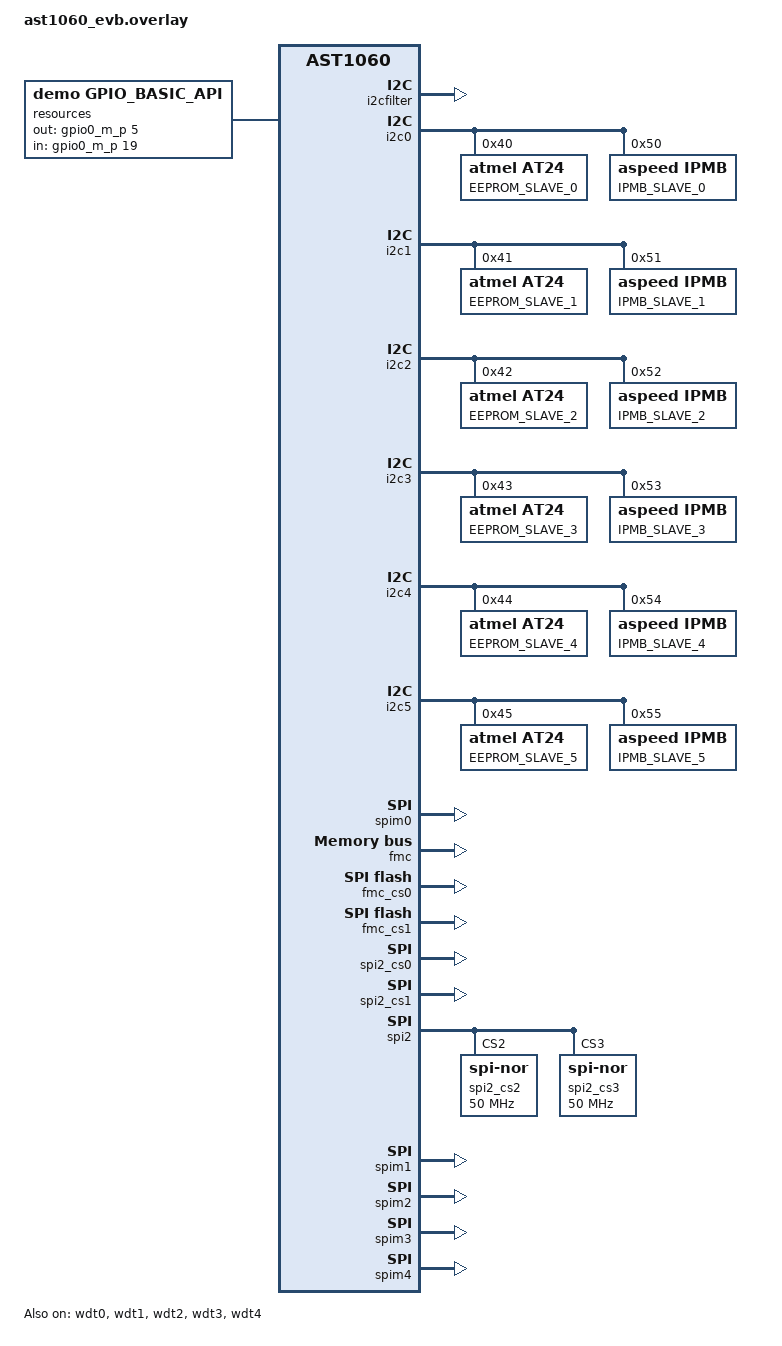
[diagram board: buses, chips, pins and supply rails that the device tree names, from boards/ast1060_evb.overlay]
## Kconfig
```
# Copyright (c) 2021 ASPEED Technology Inc. <chin-ting_kuo@aspeedtech.com>
# SPDX-License-Identifier: Apache-2.0

config WDT_DEMO_ASPEED
	default n
	bool "ASPEED WDT demo"
	help
	  Enable ASPEED WDT demo behaviors.

source "Kconfig.zephyr"
```

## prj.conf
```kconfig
CONFIG_GPIO=y
CONFIG_SPI=y
CONFIG_I2C=y
CONFIG_THREAD_RUNTIME_STATS=y
CONFIG_GPIO_SHELL=y
CONFIG_I2C_SLAVE=y
CONFIG_I2C_EEPROM_SLAVE=y
CONFIG_FLASH=y
CONFIG_SPI_NOR_MULTI_DEV=y
CONFIG_FLASH_SHELL=y
CONFIG_HEAP_MEM_POOL_SIZE=16384
CONFIG_MINIMAL_LIBC_MALLOC_ARENA_SIZE=147456
CONFIG_REBOOT=y
CONFIG_POSIX_CLOCK=y
CONFIG_STACK_SENTINEL=y
CONFIG_LOG=y
CONFIG_LOG_BACKEND_UART=y
CONFIG_SHELL=y
CONFIG_SHELL_BACKEND_SERIAL_INIT_PRIORITY=99
CONFIG_PFR_FLOW_CTRL_AST1060=y
```

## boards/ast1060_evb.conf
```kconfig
CONFIG_GPIO_ASPEED_SGPIOM=y
CONFIG_GPIO_ASPEED=y
CONFIG_SPI_ASPEED=y
CONFIG_SPI_MONITOR_ASPEED=y
CONFIG_SPI_MONITOR_SHELL_ASPEED=y
CONFIG_SPI_NOR_ADDR_MODE_FALLBACK_DISABLED=y
CONFIG_PFR_SHELL_ASPEED=y
CONFIG_I2C_ASPEED=y
CONFIG_I2C_PFR=y
CONFIG_I2C_PFR_INIT_PRIORITY=60
CONFIG_I2C_PFR_FILTER=y
CONFIG_SHELL_ARGC_MAX=70
CONFIG_WATCHDOG=y
CONFIG_WDT_ASPEED=y
CONFIG_OTP_ASPEED=y
```

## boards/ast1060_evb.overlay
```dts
/ {
	resources {
		compatible = "demo,gpio_basic_api";
		out-gpios = <&gpio0_m_p 5 0>;
		in-gpios = <&gpio0_m_p 19 0>;
	};
};

&i2cfilter {
	pinctrl-0 = <&pinctrl_smbflt_default>;
	status = "okay";
};

&i2c0 {
	status = "okay";
	pinctrl-0 = <&pinctrl_i2c0_default>;

	eeprom0: eeprom0@40 {
		compatible = "atmel,at24";
		reg = <0x40>;
		label = "EEPROM_SLAVE_0";
		size = <256>;
		pagesize = <16>;
		address-width = <8>;
		timeout = <5>;
#ifdef CONFIG_I2C_EEPROM_SLAVE
		status = "okay";
#endif
	};

	ipmb0: ipmb0@50 {
		compatible = "aspeed,ipmb";
		reg = <0x50>;
		label = "IPMB_SLAVE_0";
		size = <5>;
#ifdef CONFIG_I2C_IPMB_SLAVE
		status = "okay";
#endif
	};

};

&i2c1 {
	pinctrl-0 = <&pinctrl_i2c1_default>;
	status = "okay";

	eeprom1: eeprom1@41 {
		compatible = "atmel,at24";
		reg = <0x41>;
		label = "EEPROM_SLAVE_1";
		size = <256>;
		pagesize = <16>;
		address-width = <8>;
		timeout = <5>;
#ifdef CONFIG_I2C_EEPROM_SLAVE
		status = "okay";
#endif
	};

	ipmb1: ipmb1@51 {
		compatible = "aspeed,ipmb";
		reg = <0x51>;
		label = "IPMB_SLAVE_1";
		size = <5>;
#ifdef CONFIG_I2C_IPMB_SLAVE
		status = "okay";
#endif
	};

};

&i2c2 {
	pinctrl-0 = <&pinctrl_i2c2_default>;
	status = "okay";

	eeprom2: eeprom2@42 {
		compatible = "atmel,at24";
		reg = <0x42>;
		label = "EEPROM_SLAVE_2";
		size = <256>;
		pagesize = <16>;
		address-width = <8>;
		timeout = <5>;
#ifdef CONFIG_I2C_EEPROM_SLAVE
		status = "okay";
#endif
	};

	ipmb2: ipmb2@52 {
		compatible = "aspeed,ipmb";
		reg = <0x52>;
		label = "IPMB_SLAVE_2";
		size = <5>;
#ifdef CONFIG_I2C_IPMB_SLAVE
		status = "okay";
#endif
	};

};

&i2c3 {
	pinctrl-0 = <&pinctrl_i2c3_default>;
	status = "okay";

	eeprom3: eeprom3@43 {
		compatible = "atmel,at24";
		reg = <0x43>;
		label = "EEPROM_SLAVE_3";
		size = <256>;
		pagesize = <16>;
		address-width = <8>;
		timeout = <5>;
#ifdef CONFIG_I2C_EEPROM_SLAVE
		status = "okay";
#endif
	};

	ipmb3: ipmb3@53 {
		compatible = "aspeed,ipmb";
		reg = <0x53>;
		label = "IPMB_SLAVE_3";
		size = <5>;
#ifdef CONFIG_I2C_IPMB_SLAVE
		status = "okay";
#endif
	};

};

&i2c4 {
	pinctrl-0 = <&pinctrl_i2c4_default>;
	status = "okay";

	eeprom4: eeprom4@44 {
		compatible = "atmel,at24";
		reg = <0x44>;
		label = "EEPROM_SLAVE_4";
		size = <256>;
		pagesize = <16>;
		address-width = <8>;
		timeout = <5>;
#ifdef CONFIG_I2C_EEPROM_SLAVE
		status = "okay";
#endif
	};

	ipmb4: ipmb4@54 {
		compatible = "aspeed,ipmb";
		reg = <0x54>;
		label = "IPMB_SLAVE_4";
		size = <5>;
#ifdef CONFIG_I2C_IPMB_SLAVE
		status = "okay";
#endif
	};

};

&i2c5 {
	pinctrl-0 = <&pinctrl_i2c5_default>;
	status = "okay";

	eeprom5: eeprom5@45 {
		compatible = "atmel,at24";
		reg = <0x45>;
		label = "EEPROM_SLAVE_5";
		size = <256>;
		pagesize = <16>;
		address-width = <8>;
		timeout = <5>;
#ifdef CONFIG_I2C_EEPROM_SLAVE
		status = "okay";
#endif
	};

	ipmb5: ipmb5@55 {
		compatible = "aspeed,ipmb";
		reg = <0x55>;
		label = "IPMB_SLAVE_5";
		size = <5>;
#ifdef CONFIG_I2C_IPMB_SLAVE
		status = "okay";
#endif
	};

};

&wdt0 {
	status = "okay";
};

&wdt1 {
	status = "okay";
};

&wdt2 {
	status = "okay";
};

&wdt3 {
	status = "okay";
};

&wdt4 {
	status = "okay";
};

&spim0 {
	status = "okay";
};

&fmc {
	status = "okay";
};

&fmc_cs0 {
	status = "okay";
	spi-max-buswidth = <4>;
	spi-max-frequency = <50000000>;
};

&fmc_cs1 {
	status = "okay";
	spi-max-buswidth = <4>;
	spi-max-frequency = <50000000>;
};


/* Use AST1060 SPI2 as the internal SPI master to
 * to access the SPI flashes connected to SPI monitors
 * Here,
 * "SPI2_CS0" used to access flash connected to SPI_Monitor_1,
 * "SPI2_CS1" is used to access flash connected to SPI_Monitor_2,
 * "SPI2_CS2" is used to access flash connected to SPI_Monitor_3,
 * "SPI2_CS3" is used to access flash connected to SPI_Monitor_4.
 */

&spi2_cs0 {
	spi-max-buswidth = <4>;
	spi-max-frequency = <50000000>;
	reg = <0>;
	status = "okay";
};

&spi2_cs1 {
	spi-max-buswidth = <4>;
	spi-max-frequency = <50000000>;
	reg = <1>;
	status = "okay";
};

&spi2 {
	internal-mux-master = <2>;
	spi-monitor-output-base = <1>;
	spi-monitor-common-ctrl = <&spim0>;
	pinctrl-0 = <>;
	num-cs = <4>;
	status = "okay";

	spi2_cs2: flash@2 {
		compatible = "jedec,spi-nor";
		reg = <2>;
		spi-max-buswidth = <4>;
		spi-max-frequency = <50000000>;
		label = "spi2_cs2";
		status = "okay";
	};

	spi2_cs3: flash@3 {
		compatible = "jedec,spi-nor";
		reg = <3>;
		spi-max-buswidth = <4>;
		spi-max-frequency = <50000000>;
		label = "spi2_cs3";
		status = "okay";
	};
};

&spim1 {
	allow-cmds = [03 13 0b 0c 6b 6c 01 05 35 06 04 20 21 9f 5a b7 e9 32 34 d8 dc 02 12];
	log-ram-size = <0x200>;
	pinctrl-0 = <&pinctrl_spim1_cs &pinctrl_spim1_in_default &pinctrl_spim1_out_default
				&pinctrl_spim1_qspi_in_default &pinctrl_spim1_qspi_out_default
				&pinctrl_spim1_rst_out>;

	flash-device = <&spi2_cs0>;
	status = "okay";
};

&spim2 {
	allow-cmds = [03 13 0b 0c 6b 6c 01 05 35 06 04 20 21 9f 5a b7 e9 32 34 d8 dc 02 12];
	log-ram-size = <0x200>;
	pinctrl-0 = <&pinctrl_spim2_cs &pinctrl_spim2_in_default &pinctrl_spim2_out_default
				&pinctrl_spim2_qspi_in_default &pinctrl_spim2_qspi_out_default
				&pinctrl_spim2_rst_out>;

	flash-device = <&spi2_cs1>;
	status = "okay";
};

&spim3 {
	allow-cmds = [03 13 0b 0c 6b 6c 01 05 35 06 04 20 21 9f 5a b7 e9 32 34 d8 dc 02 12];
	log-ram-size = <0x200>;
	pinctrl-0 = <&pinctrl_spim3_cs &pinctrl_spim3_in_default &pinctrl_spim3_out_default
				&pinctrl_spim3_qspi_in_default &pinctrl_spim3_qspi_out_default
				&pinctrl_spim3_rst_out>;

	flash-device = <&spi2_cs2>;
	status = "okay";
};

&spim4 {
	allow-cmds = [03 13 0b 0c 6b 6c 01 05 35 06 04 20 21 9f 5a b7 e9 32 34 d8 dc 02 12];
	log-ram-size = <0x200>;
	/* for demo purpose */
	read-forbidden-regions = <
		0x00000000 0x10000
		0x00274000 0x4000
		0x01E00000 0x80000
	>;

	write-forbidden-regions = <
		0x00000000 0x10000
		0x013FC000 0x28000
		0x0FFF8000 0x8000
	>;

	pinctrl-0 = <&pinctrl_spim4_cs &pinctrl_spim4_in_default &pinctrl_spim4_out_default
				&pinctrl_spim4_qspi_in_default &pinctrl_spim4_qspi_out_default
				&pinctrl_spim4_rst_out>;

	flash-device = <&spi2_cs3>;
	status = "okay";
};
```

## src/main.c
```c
/*
 * Copyright (c) 2021 ASPEED Technology Inc.
 *
 * SPDX-License-Identifier: Apache-2.0
 */

#include <zephyr.h>
#include <sys/printk.h>
#include <drivers/misc/aspeed/pfr_aspeed.h>
#include "demo_gpio.h"
#include <drivers/watchdog.h>
#include <soc.h>

extern struct k_work rst_work;

void demo_spim_irq_init(void);
void demo_wdt(void);
void ast1060_rst_demo_passthrough(struct k_work *item);
void rst_gpio_event_register(void);
void ast1060_i2c_demo_flt(void);

void main(void)
{
	printk("%s demo\n", CONFIG_BOARD);
	aspeed_print_sysrst_info();

	/* reset BMC first */
	pfr_bmc_rst_enable_ctrl(true);

	rst_gpio_event_register();

	k_work_init(&rst_work, ast1060_rst_demo_passthrough);

	demo_spim_irq_init();

	ast1060_rst_demo_passthrough(NULL);

#if CONFIG_I2C_PFR_FILTER
	ast1060_i2c_demo_flt();
#endif

	/* the following demo part should be allocated
	 * at the final step of main function.
	 */
#if CONFIG_WDT_DEMO_ASPEED
	demo_wdt();
#endif

}
```

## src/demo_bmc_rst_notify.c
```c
/*
 * Copyright (c) 2021 ASPEED Technology Inc.
 *
 * SPDX-License-Identifier: Apache-2.0
 */

#include <zephyr.h>
#include <sys/printk.h>
#include <drivers/misc/aspeed/pfr_aspeed.h>
#include "demo_gpio.h"

static struct gpio_callback gpio_cb;
struct k_work rst_work;

static void gpioo3_callback(const struct device *dev,
		       struct gpio_callback *gpio_cb, uint32_t pins)
{
	/* reset BMC first */
	pfr_bmc_rst_enable_ctrl(true);

	k_work_submit(&rst_work);

	ARG_UNUSED(*gpio_cb);
	ARG_UNUSED(pins);
}

void rst_gpio_event_register(void)
{
	int ret;
	const struct device *gpio_dev = device_get_binding(GPIOO3_DEV_NAME);

	if (!gpio_dev) {
		printk("demo_err: cannot get device, %s.\n", gpio_dev->name);
		return;
	}

	ret = gpio_pin_interrupt_configure(gpio_dev, GPIOO3_PIN_IN, GPIO_INT_DISABLE);
	if (ret != 0) {
		printk("demo_err: cannot configure GPIO INT(disabled).\n");
		return;
	}

	ret = gpio_pin_configure(gpio_dev, GPIOO3_PIN_IN, GPIO_INPUT);
	if (ret != 0) {
		printk("demo_err: cannot configure gpio device.\n");
		return;
	}

	gpio_init_callback(&gpio_cb, gpioo3_callback, BIT(GPIOO3_PIN_IN));
	ret = gpio_add_callback(gpio_dev, &gpio_cb);
	if (ret != 0) {
		printk("demo_err: cannot add gpio callback.\n");
		return;
	}

	ret = gpio_pin_interrupt_configure(gpio_dev, GPIOO3_PIN_IN, GPIO_INT_EDGE_TO_INACTIVE);
	if (ret != 0) {
		printk("demo_err: cannot configure GPIO INT(1->0).\n");
		return;
	}
}
```

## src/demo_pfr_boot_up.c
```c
/*
 * Copyright (c) 2021 ASPEED Technology Inc.
 *
 * SPDX-License-Identifier: Apache-2.0
 */

#include <zephyr.h>
#include <sys/printk.h>
#include <drivers/misc/aspeed/pfr_aspeed.h>

int demo_spi_host_read(void);

void ast1060_rst_demo_passthrough(struct k_work *item)
{
	int ret;
	const struct device *spim_dev = NULL;
	uint32_t i;
	static char *spim_devs[4] = {
		"spi_m1",
		"spi_m2",
		"spi_m3",
		"spi_m4"
	};

	spim_dev = device_get_binding("spi_m1");
	if (!spim_dev) {
		printk("demo_err: cannot get device, spi_m1.\n");
		return;
	}

	/* reset BMC and flash */
	pfr_bmc_rst_enable_ctrl(true);
	spim_rst_flash(spim_dev, 500);

	/* disable passthrough mode for SPI monitors */
	for (i = 0; i < 4; i++) {
		spim_dev = device_get_binding(spim_devs[i]);
		if (!spim_dev) {
			printk("demo_err: cannot get device, %s.\n", spim_devs[i]);
			return;
		}

		spim_passthrough_config(spim_dev, 0, false);
	}

	/* emulate PFR reads each flash content for verification purpose */
	ret = demo_spi_host_read();
	if (ret)
		return;

	/* set up passthrough mode for SPI monitors */
	for (i = 0; i < 4; i++) {
		spim_dev = device_get_binding(spim_devs[i]);
		if (!spim_dev) {
			printk("demo_err: cannot get device, %s.\n", spim_devs[i]);
			return;
		}

		spim_passthrough_config(spim_dev, SPIM_SINGLE_PASSTHROUGH, true);
	}

	pfr_bmc_rst_enable_ctrl(false);

}
```

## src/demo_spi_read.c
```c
/*
 * Copyright (c) 2021 Aspeed Technology Inc.
 *
 * SPDX-License-Identifier: Apache-2.0
 */

#include <drivers/flash.h>
#include <drivers/spi_nor.h>
#include <kernel.h>
#include <sys/util.h>
#include <soc.h>
#include <stdlib.h>
#include <string.h>
#include <zephyr.h>

#define LOG_MODULE_NAME spi_read_demo

#include <logging/log.h>
LOG_MODULE_REGISTER(LOG_MODULE_NAME);

#define SPI_FLASH_TEST_SECTOR_SIZE 0x1000
#define SPI_FLASH_TEST_SIZE SPI_FLASH_TEST_SECTOR_SIZE
#define SPI_FLASH_TEST_ARR_SIZE 0x1100

static uint8_t test_arr[SPI_FLASH_TEST_ARR_SIZE] NON_CACHED_BSS_ALIGN16;
static uint8_t read_back_arr[SPI_FLASH_TEST_SIZE] NON_CACHED_BSS_ALIGN16;
static uint8_t op_arr[SPI_FLASH_TEST_SIZE] NON_CACHED_BSS_ALIGN16;

static char *flash_devices[6] = {
	"spi2_cs0",
	"spi2_cs1",
	"spi2_cs2",
	"spi2_cs3"
};

static void spi_flash_dump_buf(uint8_t *buf, uint32_t len)
{
	uint32_t i;

	for (i = 0; i < len; i++) {
		printk("%02x ", buf[i]);
		if (i % 16 == 15)
			printk("\n");
	}
	printk("\n");
}

static int do_erase_write_verify(const struct device *flash_device,
			uint32_t op_addr, uint8_t *write_buf, uint8_t *read_back_buf,
			uint32_t erase_sz)
{
	uint32_t ret = 0;

	ret = flash_erase(flash_device, op_addr, erase_sz);
	if (ret != 0) {
		LOG_ERR("[%s][%d] erase failed at %d.",
			__func__, __LINE__, op_addr);
		goto end;
	}

	ret = flash_write(flash_device, op_addr, write_buf, erase_sz);
	if (ret != 0) {
		LOG_ERR("[%s][%d] write failed at %d.",
			__func__, __LINE__, op_addr);
		goto end;
	}

	flash_read(flash_device, op_addr, read_back_buf, erase_sz);
	if (ret != 0) {
		LOG_ERR("[%s][%d] write failed at %d.",
			__func__, __LINE__, op_addr);
		goto end;
	}

	if (memcmp(write_buf, read_back_buf, erase_sz) != 0) {
		ret = -EINVAL;
		LOG_ERR("ERROR: %s %d fail to write flash at 0x%x",
				__func__, __LINE__, op_addr);
		printk("to be written:\n");
		spi_flash_dump_buf(write_buf, 256);

		printk("readback:\n");
		spi_flash_dump_buf(read_back_buf, 256);

		goto end;
	}

end:
	return ret;
}

static int do_update(const struct device *flash_device,
				off_t offset, uint8_t *buf, size_t len)
{
	int ret = 0;
	uint32_t flash_sz = flash_get_flash_size(flash_device);
	uint32_t sector_sz = flash_get_write_block_size(flash_device);
	uint32_t flash_offset = (uint32_t)offset;
	uint32_t remain, op_addr = 0, end_sector_addr;
	uint8_t *update_ptr = buf, *op_buf = NULL, *read_back_buf = NULL;
	bool update_it = false;

	LOG_INF("Udpating %s...", flash_device->name);

	if (flash_sz < flash_offset + len) {
		LOG_ERR("ERROR: update boundary exceeds flash size. (%d, %d, %d)",
			flash_sz, flash_offset, len);
		ret = -EINVAL;
		goto end;
	}

	op_buf = (uint8_t *)op_arr;
	read_back_buf = (uint8_t *)read_back_arr;

	/* initial op_addr */
	op_addr = (flash_offset / sector_sz) * sector_sz;

	/* handle the start part which is not multiple of sector size */
	if (flash_offset % sector_sz != 0) {
		ret = flash_read(flash_device, op_addr, op_buf, sector_sz);
		if (ret != 0)
			goto end;

		remain = MIN(sector_sz - (flash_offset % sector_sz), len);
		memcpy((uint8_t *)op_buf + (flash_offset % sector_sz), update_ptr, remain);
		ret = do_erase_write_verify(flash_device, op_addr, op_buf,
								read_back_buf, sector_sz);
		if (ret != 0)
			goto end;

		op_addr += sector_sz;
		update_ptr += remain;
	}

	end_sector_addr = (flash_offset + len) / sector_sz * sector_sz;
	/* handle body */
	for (; op_addr < end_sector_addr;) {
		ret = flash_read(flash_device, op_addr, op_buf, sector_sz);
		if (ret != 0)
			goto end;

		if (memcmp(op_buf, update_ptr, sector_sz) != 0)
			update_it = true;

		if (update_it) {
			ret = do_erase_write_verify(flash_device, op_addr, update_ptr,
								read_back_buf, sector_sz);
			if (ret != 0)
				goto end;
		}

		op_addr += sector_sz;
		update_ptr += sector_sz;
	}

	/* handle remain part */
	if (end_sector_addr < flash_offset + len) {

		ret = flash_read(flash_device, op_addr, op_buf, sector_sz);
		if (ret != 0)
			goto end;

		remain = flash_offset + len - end_sector_addr;
		memcpy((uint8_t *)op_buf, update_ptr, remain);

		ret = do_erase_write_verify(flash_device, op_addr, op_buf,
								read_back_buf, sector_sz);
		if (ret != 0)
			goto end;

		op_addr += remain;
	}

end:
	LOG_INF("Update %s.", ret ? "FAILED" : "done");
	return ret;
}

int demo_spi_host_read(void)
{
	int ret = 0;
	const struct device *flash_dev;
	uint8_t *op_buf = NULL;
	uint32_t i;

	op_buf = (uint8_t *)op_arr;

	for (i = 0; i < SPI_FLASH_TEST_ARR_SIZE; i++)
		test_arr[i] = 'a' + (i % 26);

	/* Don't modify flash of spi1_cs0
	 * since it is FMC_CS0 flash of the host.
	 */
	for (i = 1; i < 4; i++) {
		flash_dev = device_get_binding(flash_devices[i]);
		if (!flash_dev) {
			LOG_ERR("No device named %s.", flash_devices[i]);
			return -ENOEXEC;
		}

		ret = flash_read(flash_dev, 0x0, op_buf, SPI_FLASH_TEST_SIZE);
		if (ret) {
			LOG_ERR("fail to read flash %s", flash_devices[i]);
			goto end;
		}

		if (memcmp(op_buf, test_arr + (i * 4), SPI_FLASH_TEST_SIZE) != 0) {
			ret = do_update(flash_dev, 0x0,
					test_arr + (i * 4), SPI_FLASH_TEST_SIZE);
			if (ret != 0) {
				LOG_ERR("fail to update flash %s", flash_devices[i]);
				goto end;
			}
		}
	}

	for (i = 0; i < 4; i++) {
		flash_dev = device_get_binding(flash_devices[i]);
		if (!flash_dev) {
			LOG_ERR("No device named %s.", flash_devices[i]);
			return -ENOEXEC;
		}

		ret = flash_read(flash_dev, 0x0, op_buf, SPI_FLASH_TEST_SIZE);
		if (ret) {
			LOG_ERR("fail to read flash %s", flash_devices[i]);
			goto end;
		}

		printk("[%s]read result:\n", flash_devices[i]);
		spi_flash_dump_buf(op_buf, 4);
		spi_flash_dump_buf(op_buf + SPI_FLASH_TEST_SIZE - 4, 4);

		ret = spi_nor_config_4byte_mode(flash_dev, false);
		if (ret)
			goto end;
	}

	k_busy_wait(20000); /* 20ms */

end:

	return ret;
}
```

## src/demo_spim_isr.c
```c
/*
 * Copyright (c) 2021 Aspeed Technology Inc.
 *
 * SPDX-License-Identifier: Apache-2.0
 */

#include <string.h>
#include <zephyr.h>
#include <zephyr/types.h>
#include <sys/printk.h>
#include <drivers/misc/aspeed/pfr_aspeed.h>
#include <sys/sys_io.h>
#include <sys/__assert.h>
#include <sys/util.h>
#include <errno.h>


struct demo_spim_log_ctrl {
	struct k_work log_work;
	struct spim_log_info info;
	const struct device *dev;
	uint32_t cur_off;
	uint32_t pre_off;
};

struct k_sem sem_demo_log_op;
struct demo_spim_log_ctrl log_ctrls[4];
const struct device *spim_devs[4];

static void spim_log_parser(const struct device *dev, uint32_t idx, uint32_t log_val)
{

	switch ((log_val & 0x000c0000) >> 18) {
	case 0x0:
		/* block command */
		printk("[%s][b][%03d][cmd] %02xh\n",
				dev->name, idx, log_val & 0xFF);
		break;

	case 0x1:
		/* block write command */
		printk("[%s][b][%03d][w_addr] 0x%08x\n",
				dev->name, idx, (log_val & 0x3FFFF) << 14);
		break;

	case 0x2:
		/* block read command */
		printk("[%s][b][%03d][r_addr] 0x%08x\n",
				dev->name, idx, (log_val & 0x3FFFF) << 14);
		break;

	default:
		printk("[%s][%03d]invalid ctx: 0x%08x", dev->name, idx, log_val);
	}
}

static void demo_spim_log_work(struct k_work *item)
{
	uint32_t i;
	struct demo_spim_log_ctrl *log_ctrl =
		CONTAINER_OF(item, struct demo_spim_log_ctrl, log_work);

	if (IS_ENABLED(CONFIG_MULTITHREADING))
		k_sem_take(&sem_demo_log_op, K_FOREVER);

	spim_get_log_info(log_ctrl->dev, &log_ctrl->info);

	log_ctrl->cur_off = log_ctrl->info.log_idx_reg;
	if (log_ctrl->cur_off < log_ctrl->pre_off) {
		for (i = log_ctrl->pre_off; i < log_ctrl->info.log_max_sz / 4; i++) {
			spim_log_parser(log_ctrl->dev, i,
				sys_read32(log_ctrl->info.log_ram_addr + i * 4));
		}

		log_ctrl->pre_off = 0;
	}

	for (i = log_ctrl->pre_off; i < log_ctrl->cur_off; i++) {
		spim_log_parser(log_ctrl->dev, i,
			sys_read32(log_ctrl->info.log_ram_addr + i * 4));
	}

	log_ctrl->pre_off = log_ctrl->cur_off;

	if (IS_ENABLED(CONFIG_MULTITHREADING))
		k_sem_give(&sem_demo_log_op);
}

static void demo_spim_isr_callback(const struct device *dev)
{
	uint32_t ctrl_idx = spim_get_ctrl_idx(dev);

	/* notice: the ctrl_idx is from 1 to 4 */
	k_work_submit(&log_ctrls[ctrl_idx - 1].log_work);
}

void demo_spim_irq_init(void)
{
	uint32_t i;
	static char *spim_dev_names[4] = {
		"spi_m1",
		"spi_m2",
		"spi_m3",
		"spi_m4"
	};

	if (IS_ENABLED(CONFIG_MULTITHREADING))
		k_sem_init(&sem_demo_log_op, 1, 1);

	memset(log_ctrls, 0x0, sizeof(struct demo_spim_log_ctrl));

	for (i = 0; i < 4; i++) {
		spim_devs[i] = device_get_binding(spim_dev_names[i]);
		if (!spim_devs[i]) {
			printk("demo_err: cannot get device, %s.\n", spim_dev_names[i]);
			return;
		}

		log_ctrls[i].dev = spim_devs[i];
		spim_isr_callback_install(spim_devs[i], demo_spim_isr_callback);
		k_work_init(&log_ctrls[i].log_work, demo_spim_log_work);
	}
}
```

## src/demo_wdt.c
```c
/*
 * Copyright (c) 2021 Aspeed Technology Inc.
 *
 * SPDX-License-Identifier: Apache-2.0
 */

#include <zephyr.h>
#include <zephyr/types.h>
#include <sys/printk.h>
#include <drivers/misc/aspeed/pfr_aspeed.h>
#include <sys/sys_io.h>
#include <sys/__assert.h>
#include <sys/util.h>
#include <errno.h>
#include <drivers/watchdog.h>
#include <soc.h>

#if CONFIG_WDT_DEMO_ASPEED
static void demo_wdt_callback(const struct device *dev, int channel_id)
{
	printk("[%s] timeout is triggered.\n", dev->name);
}

void demo_wdt(void)
{
	struct wdt_timeout_cfg wdt_config;
	const struct device *wdt3_dev;
	const struct device *wdt4_dev;
	int ret;
	uint32_t count = 0;

	printk("wdt demo started.\n");

	wdt3_dev = device_get_binding("wdt3");
	if (!wdt3_dev) {
		printk("demo_err: cannot find wdt3 device.\n");
		return;
	}

	wdt4_dev = device_get_binding("wdt4");
	if (!wdt3_dev) {
		printk("demo_err: cannot find wdt4 device.\n");
		return;
	}

	wdt_config.window.min = 0U;
	wdt_config.window.max = 1000; /* 1 s */
	wdt_config.callback = demo_wdt_callback;
	ret = wdt_install_timeout(wdt3_dev, &wdt_config);
	if (ret != 0) {
		printk("demo_err: fail to install wdt3 timeout.\n");
		return;
	}

	wdt_config.window.min = 0U;
	wdt_config.window.max = 3000; /* 3s */
	wdt_config.callback = NULL;
	ret = wdt_install_timeout(wdt4_dev, &wdt_config);
	if (ret != 0) {
		printk("demo_err: fail to install wdt4 timeout.\n");
		return;
	}

	ret = wdt_setup(wdt3_dev, WDT_FLAG_RESET_NONE);
	if (ret != 0) {
		printk("demo_err: fail to setup wdt3.\n");
		return;
	}

	ret = wdt_setup(wdt4_dev, WDT_FLAG_RESET_CPU_CORE);
	if (ret != 0) {
		printk("demo_err: fail to setup wdt4.\n");
		return;
	}

	while (1) {
		if (count == 10) {
			printk("wdt_demo getting stuck...\n");
			k_sleep(K_FOREVER);
		}

		printk("wdt_demo ... %d\n", count);

		wdt_feed(wdt3_dev, 0);
		wdt_feed(wdt4_dev, 0);
		if (count < 5)
			k_sleep(K_MSEC(500));
		else
			k_sleep(K_MSEC(2000));

		count++;
	}
}
#endif

static void demo_wdt_background_thread(void)
{
	int ret = 0;
	const struct device *wdt2_dev = NULL;
	struct wdt_timeout_cfg wdt_config;

	wdt2_dev = device_get_binding("wdt2");
	if (!wdt2_dev) {
		printk("demo_err: cannot find wdt2 device.\n");
		return;
	}

	wdt_config.window.min = 0U;
	wdt_config.window.max = 5000; /* 5s */
	wdt_config.callback = NULL;
	ret = wdt_install_timeout(wdt2_dev, &wdt_config);
	if (ret != 0) {
		printk("demo_err: fail to install wdt2 timeout.\n");
		return;
	}

	ret = wdt_setup(wdt2_dev, WDT_FLAG_RESET_CPU_CORE);
	if (ret != 0) {
		printk("demo_err: fail to setup wdt2.\n");
		return;
	}

	while (1) {
#if CONFIG_WDT_DEMO_ASPEED
		printk("wdt_demo thread still alive...\n");
#endif
		wdt_feed(wdt2_dev, 0);
		k_sleep(K_MSEC(3000));
	}
}

K_THREAD_DEFINE(wdt_background, 1024, demo_wdt_background_thread,
	NULL, NULL, NULL, -1, 0, 1000);
```
